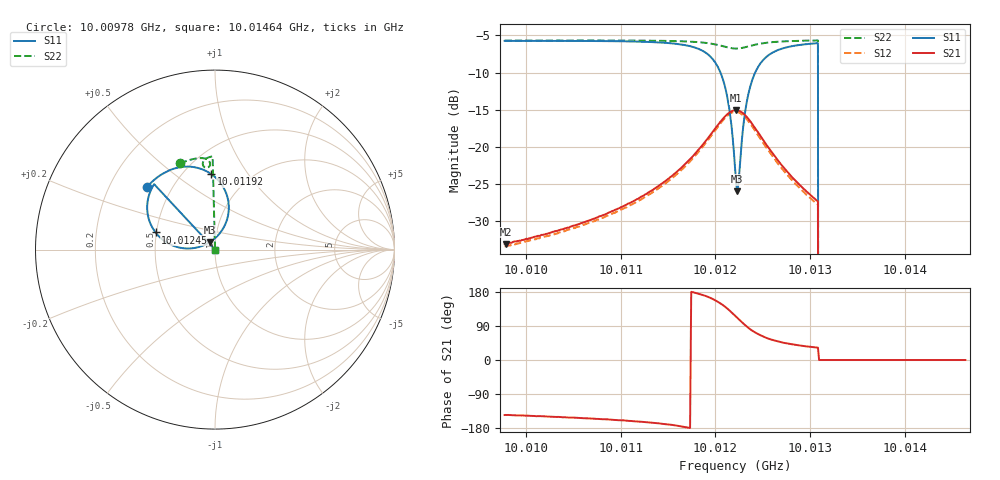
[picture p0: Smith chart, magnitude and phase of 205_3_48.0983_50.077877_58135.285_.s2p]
#  HZ  S  RI  R  50.00
! Rohde & Schwarz Vector Network Analyzer
! Rohde-Schwarz,ZNB20-2Port,1311601062101988,3.16
! Created: UTC 12/23/2023, 3:55:11 AM
! freq[Hz]  re:S11  im:S11  re:S21  im:S21  re:S12  im:S12  re:S22  im:S22
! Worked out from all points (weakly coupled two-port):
!   401 points, 10.00978 GHz to 10.01464 GHz, reference 50 ohm
!   highest |S21| = -15.06 dB at 10.01222 GHz (marker M1); lowest = -33.0 dB at 10.00979 GHz (marker M2)
!   lowest |S11| = -26.0 dB at 10.01223 GHz (marker M3), VSWR 1.11, Z = 47.3 + j4.07 ohm
!   |S11| at or under -10 dB: 10.01206 GHz to 10.01242 GHz (367 kHz wide, 0.00367 % of centre); 10.01309 GHz to end of sweep
!   |S22| runs from - to -5.7 dB; largest |S21 - S12| = 0.0086
!   S11 on the Smith chart (normalised r, x): 10.00978 GHz: 0.36, +0.35; 10.01192 GHz: 0.67, +0.69; 10.01245 GHz: 0.49, +0.11; 10.01464 GHz: 1.00, +0.00
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1.0009776e10  -0.3779 0.3507  -0.0184 -0.0128  -0.017 -0.0133  -0.1954 0.4801
1.0009788e10  -0.3773 0.3516  -0.0183 -0.0128  -0.017 -0.0133  -0.1946 0.4803
1.0010591e10  -0.3226 0.4017  -0.0276 -0.0139  -0.0258 -0.0147  -0.1437 0.4986
1.0011406e10  -0.2184 0.454  -0.0537 -0.0122  -0.0511 -0.0144  -0.0849 0.5096
1.0011917e10  -0.0214 0.4213  -0.1106 0.0248  -0.1084 0.0185  -0.0367 0.4972
1.0012026e10  0.049 0.3427  -0.1256 0.0621  -0.1255 0.0535  -0.028 0.4838
1.0012099e10  0.0765 0.2479  -0.1247 0.0992  -0.1261 0.0912  -0.0278 0.4709
1.001216e10  0.06 0.1477  -0.1068 0.1347  -0.1101 0.127  -0.0339 0.4609
1.0012209e10  0.0101 0.0724  -0.0799 0.1573  -0.0838 0.1505  -0.0431 0.4563
1.0012221e10  -0.00764 0.0565  -0.0717 0.1615  -0.076 0.1545  -0.0456 0.456
1.0012233e10  -0.0262 0.043  -0.0633 0.1645  -0.0678 0.1577  -0.0482 0.4557
1.0012258e10  -0.0678 0.0217  -0.0462 0.168  -0.0506 0.1618  -0.0533 0.4567
1.0012294e10  -0.1338 0.00674  -0.0202 0.1673  -0.0244 0.1616  -0.0599 0.4603
1.0012331e10  -0.1965 0.0108  0.00331 0.1597  -0.0017 0.1544  -0.0649 0.4659
1.0012379e10  -0.2644 0.0368  0.0266 0.1436  0.0207 0.1393  -0.0681 0.4742
1.0012452e10  -0.331 0.0954  0.0459 0.1167  0.0404 0.113  -0.067 0.4864
1.0012647e10  -0.3779 0.2319  0.0536 0.0642  0.0487 0.0633  -0.0515 0.5061
1.0013024e10  -0.3459 0.3536  0.0382 0.0263  0.0353 0.0266  -0.0182 0.5183
1.0013061e10  -0.3418 0.3603  0.0372 0.0243  0.0342 0.0248  -0.0153 0.5189
1.0013121e10  0 0  0 0  0 0  0 0
1.0013839e10  0 0  0 0  0 0  0 0
1.0014642e10  0 0  0 0  0 0  0 0
